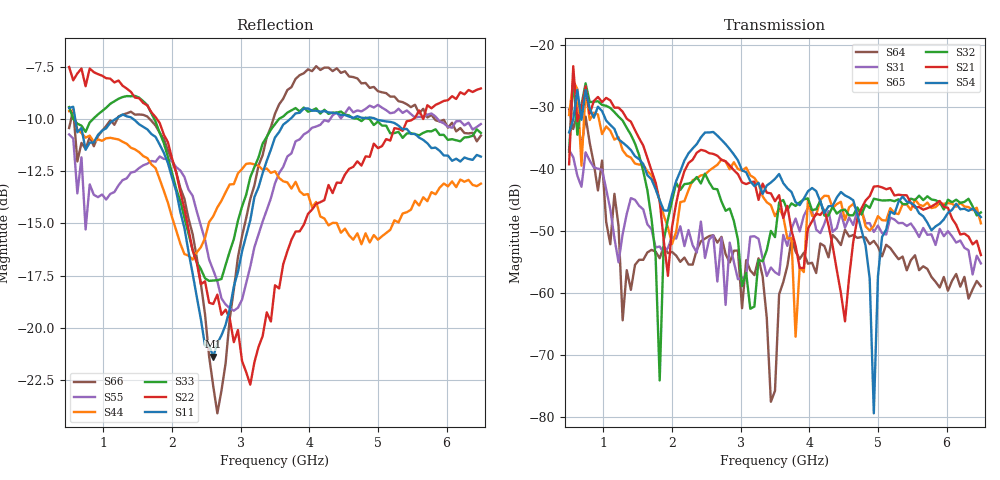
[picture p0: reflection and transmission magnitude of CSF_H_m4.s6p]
!Keysight Technologies,M9804A,MY58100912,A.14.10.03
!Date: Thursday, April 27, 2023 10:28:33
!Correction: S11(C  6-Port  )
!S12(C  6-Port  )
!S13(C  6-Port  )
!S14(C  6-Port  )
!S15(C  6-Port  )
!S16(C  6-Port  )
!S21(C  6-Port  )
!S22(C  6-Port  )
!S23(C  6-Port  )
!S24(C  6-Port  )
!S25(C  6-Port  )
!S26(C  6-Port  )
!S31(C  6-Port  )
!S32(C  6-Port  )
!S33(C  6-Port  )
!S34(C  6-Port  )
!S35(C  6-Port  )
!S36(C  6-Port  )
!S41(C  6-Port  )
!S42(C  6-Port  )
!S43(C  6-Port  )
!S44(C  6-Port  )
!S45(C  6-Port  )
!S46(C  6-Port  )
!S51(C  6-Port  )
!S52(C  6-Port  )
!S53(C  6-Port  )
!S54(C  6-Port  )
!S55(C  6-Port  )
!S56(C  6-Port  )
!S61(C  6-Port  )
!S62(C  6-Port  )
!S63(C  6-Port  )
!S64(C  6-Port  )
!S65(C  6-Port  )
!S66(C  6-Port  )
!S6P File: Measurement: :
# Hz S  RI  R 50
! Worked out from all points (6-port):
!   101 points, 500 MHz to 6.5 GHz, reference 50 ohm
!   strongest paths, dB at 500 MHz, 2 GHz, 3.5 GHz, 5 GHz, 6.5 GHz:
!     S54: -34.1, -44.1, -41.5, -57.2, -47.7
!     S21: -39.2, -49.3, -45.2, -42.7, -53.8
!     S32: -37.2, -45.1, -50.9, -44.9, -47.0
!     S65: -31.3, -52.1, -47.6, -47.6, -48.7
!     S31: -36.9, -50.9, -56.6, -49.1, -55.2
!     S64: -30.4, -53.3, -75.7, -52.5, -58.9
!   lowest |S11| = -21.4 dB at 2.6 GHz (marker M1), VSWR 1.19, Z = 42.4 + j2.17 ohm
!   |S11| at or under -10 dB: 589.5 MHz to 1.17 GHz (580.5 MHz wide, 66 % of centre); 1.439 GHz to 3.716 GHz (2.277 GHz wide, 88.3 % of centre); 4.978 GHz to end of sweep
